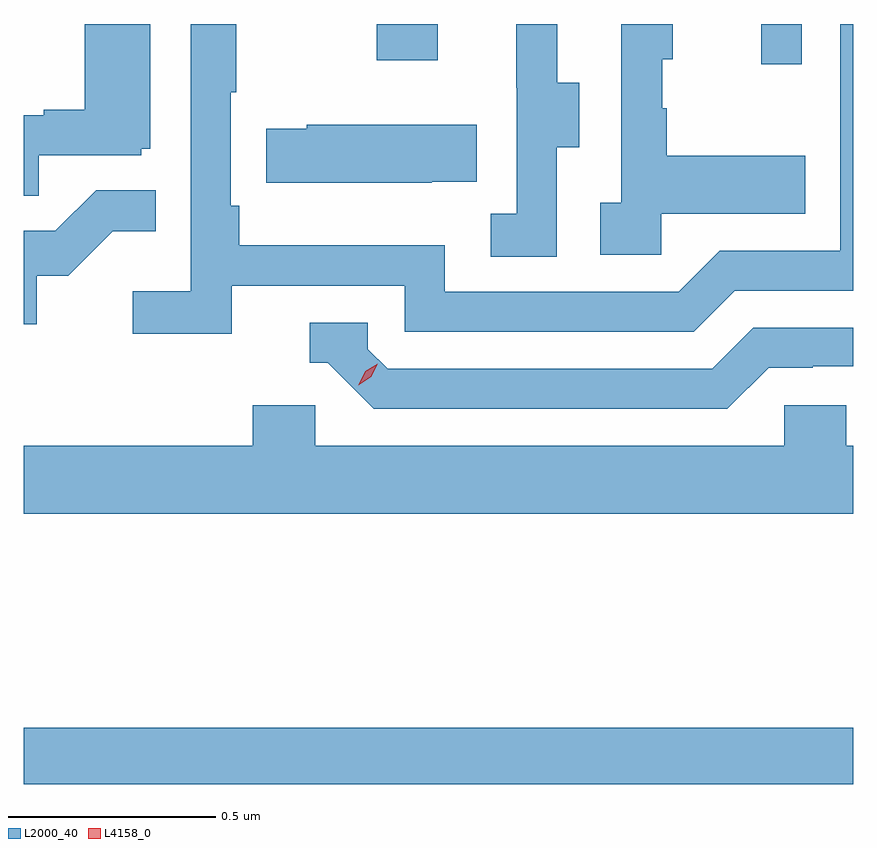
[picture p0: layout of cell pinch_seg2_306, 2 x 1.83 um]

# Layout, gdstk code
import gdstk
lib = gdstk.Library(unit=1e-6, precision=1e-09)
def R(c, l, rs):  # rectangles x0, y0, x1, y1
    for r in rs: c.add(gdstk.rectangle(r[:2], r[2:], *l))
def P(c, l, *ps):  # polygons
    for p in ps: c.add(gdstk.Polygon(p, *l))
L2000_40 = (2000, 40)
L4158_0 = (4158, 0)

pinch_seg2_306 = lib.new_cell('pinch_seg2_306')
R(pinch_seg2_306, L2000_40, [(913.115,644.32,915.115,644.456), (914.894,646.056,914.991,646.153), (913.966,646.065,914.113,646.153)])
P(pinch_seg2_306, L2000_40, [(914.4,645.856),(914.455,645.856),(914.455,646.011),(914.401,646.011),(914.401,646.153),(914.303,646.153),(914.303,645.999),(914.304,645.999),(914.304,645.695),(914.241,645.695),(914.241,645.592),(914.4,645.592)],
  [(914.652,645.695),(914.999,645.695),(914.999,645.835),(914.665,645.835),(914.665,645.95),(914.655,645.95),(914.655,646.068),(914.68,646.068),(914.68,646.153),(914.556,646.153),(914.556,645.722),(914.505,645.722),(914.505,645.597),(914.652,645.597)],
  [(913.616,645.522),(914.034,645.522),(914.034,645.411),(914.731,645.411),(914.83,645.51),(915.115,645.51),(915.115,646.153),(915.084,646.153),(915.084,645.606),(914.793,645.606),(914.694,645.507),(914.13,645.507),(914.13,645.619),(913.634,645.619),(913.634,645.715),(913.614,645.715),(913.614,645.988),(913.627,645.988),(913.627,646.153),(913.518,646.153),(913.518,645.508),(913.377,645.508),(913.377,645.406),(913.616,645.406)],
  [(913.151,645.837),(913.398,645.837),(913.398,645.852),(913.42,645.852),(913.42,646.153),(913.262,646.153),(913.262,645.946),(913.163,645.946),(913.163,645.933),(913.115,645.933),(913.115,645.739),(913.151,645.739)],
  [(914.099,645.773),(914.207,645.773),(914.207,645.91),(913.797,645.91),(913.797,645.9),(913.699,645.9),(913.699,645.77),(914.099,645.77)],
  [(913.146,645.546),(913.222,645.546),(913.329,645.653),(913.433,645.653),(913.433,645.752),(913.289,645.752),(913.191,645.654),(913.115,645.654),(913.115,645.429),(913.146,645.429)],
  [(914.911,645.324),(915.018,645.324),(915.018,645.327),(915.115,645.327),(915.115,645.42),(914.874,645.42),(914.775,645.321),(913.992,645.321),(913.944,645.369),(913.944,645.432),(913.805,645.432),(913.805,645.336),(913.848,645.336),(913.959,645.225),(914.812,645.225)],
  [(915.115,645.136),(915.099,645.136),(915.099,645.234),(914.949,645.234),(914.949,645.136),(913.818,645.136),(913.818,645.234),(913.667,645.234),(913.667,645.136),(913.115,645.136),(913.115,644.972),(915.115,644.972)])
P(pinch_seg2_306, L4158_0, [(913.922,645.282),(913.922,645.282),(913.938,645.315),(913.968,645.334),(913.969,645.334),(913.969,645.334),(913.953,645.302),(913.922,645.282)])

lib.write_gds('pinch_seg2_306.gds')
